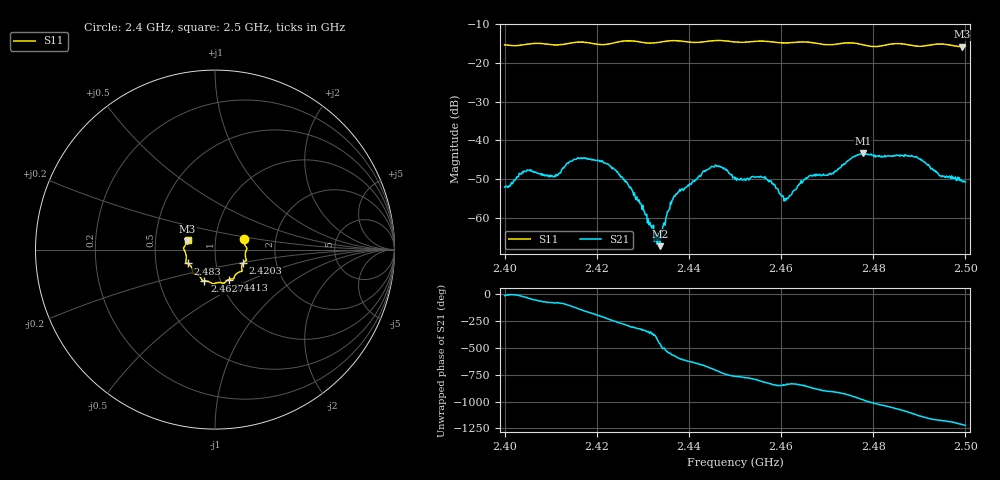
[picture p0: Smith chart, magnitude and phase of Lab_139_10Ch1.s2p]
# Hz S RI R 50
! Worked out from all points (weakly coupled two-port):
!   601 points, 2.4 GHz to 2.5 GHz, reference 50 ohm
!   highest |S21| = -43.33 dB at 2.4778 GHz (marker M1); lowest = -67.3 dB at 2.4337 GHz (marker M2)
!   lowest |S11| = -15.8 dB at 2.4993 GHz (marker M3), VSWR 1.39, Z = 36.5 + j3.55 ohm
!   |S11| at or under -10 dB: start of sweep to end of sweep
!   S12 and S22 are empty: the file has one direction only
!   S11 on the Smith chart (normalised r, x): 2.4 GHz: 1.37, +0.17; 2.4203 GHz: 1.36, -0.20; 2.4413 GHz: 1.10, -0.38; 2.4627 GHz: 0.84, -0.30; 2.483 GHz: 0.73, -0.12; 2.5 GHz: 0.73, +0.08
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2.4e9  0.1605 0.0586  0.0024 -0.000622  0 0  0 0
2.404667e9  0.1727 0.0155  0.00334 -0.00212  0 0  0 0
2.410667e9  0.17 -0.0149  0.000445 -0.00338  0 0  0 0
2.416667e9  0.1752 -0.061  -0.00499 -0.00322  0 0  0 0
2.420333e9  0.1572 -0.0728  -0.00522 0.00187  0 0  0 0
2.427e9  0.1511 -0.1199  0.00124 0.00222  0 0  0 0
2.433333e9  0.1094 -0.1471  0.000135 -0.000618  0 0  0 0
2.433667e9  0.1085 -0.1495  -8.28e-05 -0.000421  0 0  0 0
2.436833e9  0.1042 -0.1632  -0.00156 0.00112  0 0  0 0
2.441333e9  0.0762 -0.167  0.000573 0.00303  0 0  0 0
2.446167e9  0.0502 -0.188  0.00462 0.000353  0 0  0 0
2.45e9  0.031 -0.1835  0.0022 -0.00225  0 0  0 0
2.456333e9  -0.0123 -0.1901  -0.000578 -0.0032  0 0  0 0
2.461e9  -0.0456 -0.1751  -0.00091 -0.0014  0 0  0 0
2.462667e9  -0.0595 -0.1736  -0.00102 -0.00198  0 0  0 0
2.466667e9  -0.0738 -0.1674  -0.00315 -0.0016  0 0  0 0
2.477833e9  -0.1237 -0.1181  -0.000679 0.00679  0 0  0 0
2.483e9  -0.1528 -0.0774  0.00508 0.00362  0 0  0 0
2.483333e9  -0.155 -0.0764  0.00531 0.00345  0 0  0 0
2.489167e9  -0.1598 -0.0412  0.00456 -0.004  0 0  0 0
2.499333e9  -0.1545 0.0474  -0.00205 -0.00208  0 0  0 0
2.5e9  -0.1526 0.056  -0.00231 -0.00176  0 0  0 0
